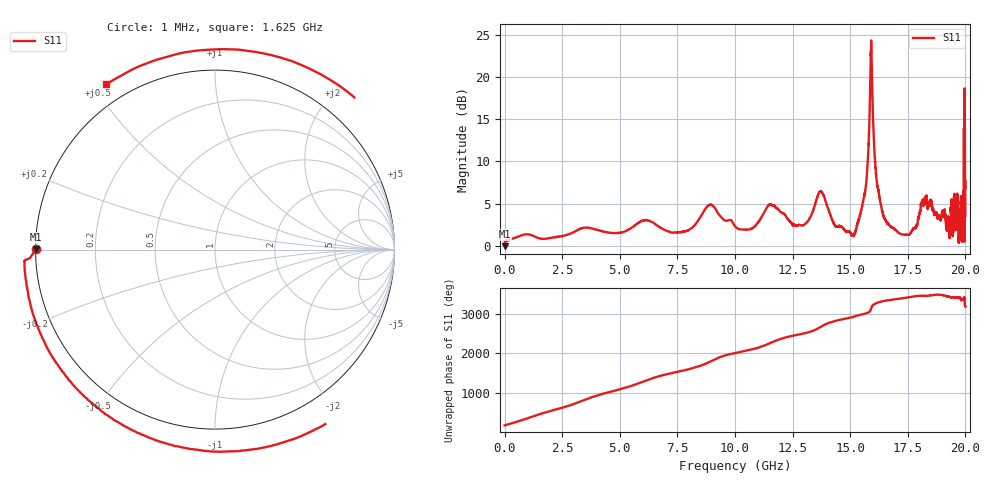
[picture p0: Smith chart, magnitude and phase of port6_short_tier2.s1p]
! Created with skrf 1.8.0 (http://scikit-rf.org).
# GHz S RI R 50.0
!freq ReS11 ImS11
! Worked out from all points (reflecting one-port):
!   10001 points, 1 MHz to 20 GHz, reference 50 ohm
!   lowest |S11| = 0.0 dB at 5 MHz (marker M1), VSWR 619.94, Z = 0.0807 + j0.0179 ohm
!   phase of S11 starts at 180 deg and turns +3010 deg over the sweep
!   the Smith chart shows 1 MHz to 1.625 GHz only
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0.001  -0.9999 0.000721
0.0049998  -0.9968 0.000712
1.470927  -0.1011 1.109
2.500875  -0.0211 -1.143
3.384831  0.1188 1.27
4.252787  -0.2429 -1.196
5.00075  1.168 0.2536
5.852707  -1.369 0.1624
6.306685  0.0709 -1.401
7.500625  -0.1283 1.197
8.266587  -1.212 -0.5562
8.948553  1.752 0.0777
10.0005  -1.144 -0.6341
11.08045  1.426 -0.0372
11.49043  -0.1431 1.746
11.85841  -1.655 -0.0522
12.50038  0.3994 -1.269
13.27234  1.288 0.7391
13.80031  -2.048 0.0388
14.11629  -0.2149 -1.546
15.00025  1.089 0.4906
15.70022  -1.738 1.67
15.81021  -4.225 1.127
15.9302  5.815 -11.6
16.0222  4.432 -0.2036
16.24419  1.189 1.672
17.50013  -1.161 0.0663
20  0.9754 -1.146
